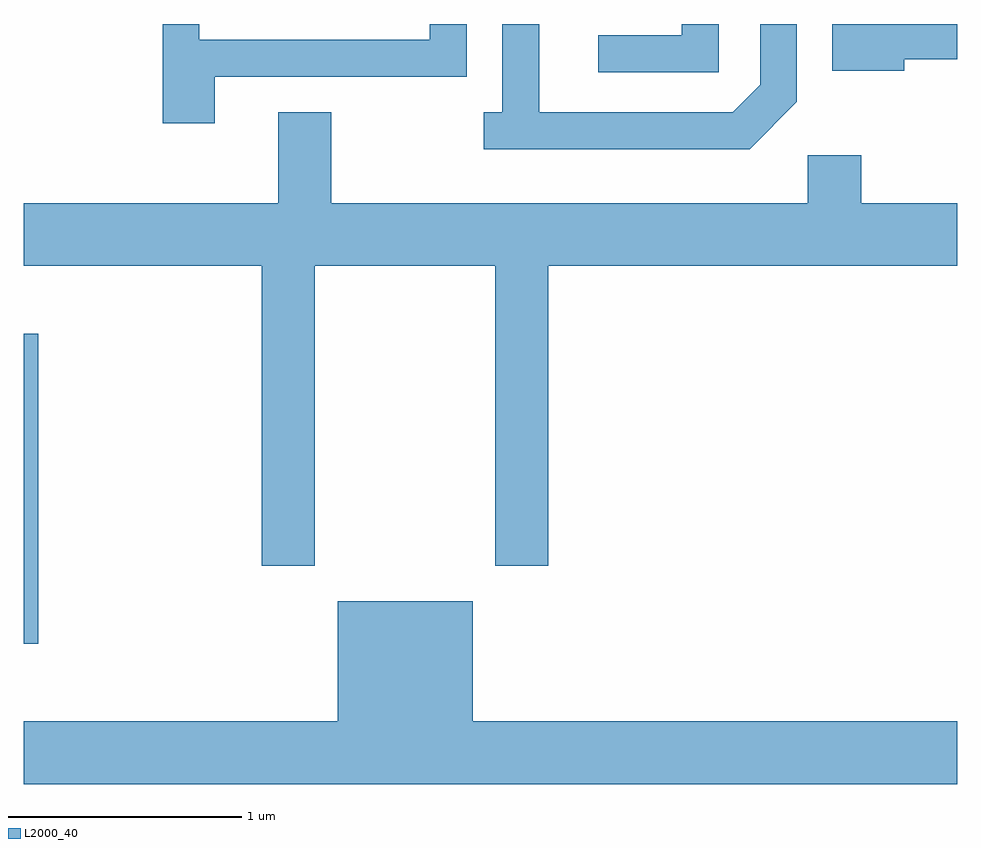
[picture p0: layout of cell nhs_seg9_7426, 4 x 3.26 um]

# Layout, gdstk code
import gdstk
lib = gdstk.Library(unit=1e-6, precision=1e-09)
def R(c, l, rs):  # rectangles x0, y0, x1, y1
    for r in rs: c.add(gdstk.rectangle(r[:2], r[2:], *l))
def P(c, l, *ps):  # polygons
    for p in ps: c.add(gdstk.Polygon(p, *l))
L2000_40 = (2000, 40)

nhs_seg9_7426 = lib.new_cell('nhs_seg9_7426')
R(nhs_seg9_7426, L2000_40, [(405.611,1965.776,405.674,1967.104)])
P(nhs_seg9_7426, L2000_40, [(408.589,1968.432),(408.431,1968.432),(408.431,1968.384),(408.073,1968.384),(408.073,1968.226),(408.589,1968.226)],
  [(409.384,1968.281),(409.611,1968.281),(409.611,1968.432),(409.076,1968.432),(409.076,1968.231),(409.384,1968.231)],
  [(408.924,1968.099),(408.924,1968.432),(408.766,1968.432),(408.766,1968.172),(408.649,1968.054),(407.819,1968.054),(407.819,1968.432),(407.661,1968.432),(407.661,1968.054),(407.583,1968.054),(407.583,1967.896),(408.722,1967.896)],
  [(406.429,1968.206),(407.509,1968.206),(407.509,1968.432),(407.351,1968.432),(407.351,1968.364),(406.364,1968.364),(406.364,1968.432),(406.206,1968.432),(406.206,1968.006),(406.429,1968.006)],
  [(406.859,1967.396),(407.631,1967.396),(407.631,1966.111),(407.859,1966.111),(407.859,1967.396),(409.611,1967.396),(409.611,1967.664),(409.199,1967.664),(409.199,1967.869),(408.971,1967.869),(408.971,1967.664),(406.929,1967.664),(406.929,1968.054),(406.701,1968.054),(406.701,1967.664),(405.611,1967.664),(405.611,1967.396),(406.631,1967.396),(406.631,1966.111),(406.859,1966.111)],
  [(409.611,1965.444),(407.534,1965.444),(407.534,1965.959),(406.956,1965.959),(406.956,1965.444),(405.611,1965.444),(405.611,1965.176),(409.611,1965.176)])

lib.write_gds('nhs_seg9_7426.gds')
